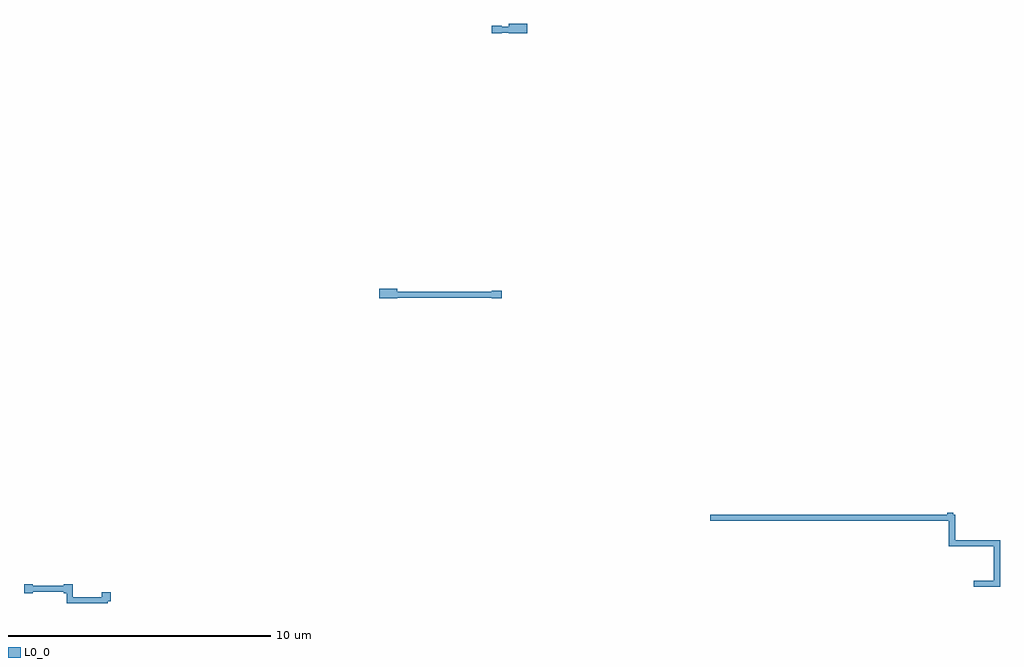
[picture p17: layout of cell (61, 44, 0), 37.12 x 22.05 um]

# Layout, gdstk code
import gdstk
lib = gdstk.Library(unit=1e-6, precision=1e-09)
def P(c, l, *ps):  # polygons
    for p in ps: c.add(gdstk.Polygon(p, *l))
L0_0 = (0, 0)

c__61__44__0_ = lib.new_cell('(61, 44, 0)')
P(c__61__44__0_, L0_0, [(958.535,943.435),(959.31,943.435),(959.31,943.205),(958.535,943.205),(958.535,943.435)],
  [(959.12,943.55),(959.82,943.55),(959.82,943.18),(959.12,943.18),(959.12,943.55)],
  [(958.46,943.46),(958.84,943.46),(958.84,943.18),(958.46,943.18),(958.46,943.46)],
  [(954.18,933.1),(954.18,933.47),(954.88,933.47),(954.88,933.1),(954.18,933.1)],
  [(954.69,933.355),(958.765,933.355),(958.765,933.125),(954.69,933.125),(954.69,933.355)],
  [(958.46,933.38),(958.84,933.38),(958.84,933.1),(958.46,933.1),(958.46,933.38)],
  [(942.54,922.23),(942.54,921.725),(943.64,921.725),(943.64,921.915),(943.98,921.915),(943.98,921.575),(943.87,921.575),(943.87,921.495),(942.31,921.495),(942.31,921.89),(942.2,921.89),(942.2,921.945),(941.02,921.945),(941.02,921.89),(940.68,921.89),(940.68,922.23),(941.02,922.23),(941.02,922.175),(942.2,922.175),(942.2,922.23),(942.54,922.23)],
  [(976.01,924.95),(976.01,924.865),(976.085,924.865),(976.085,923.895),(977.795,923.895),(977.795,922.13),(976.795,922.13),(976.795,922.36),(977.565,922.36),(977.565,923.665),(975.855,923.665),(975.855,924.635),(966.785,924.635),(966.785,924.865),(975.78,924.865),(975.78,924.95),(976.01,924.95)])

lib.write_gds('_61__44__0_.gds')
